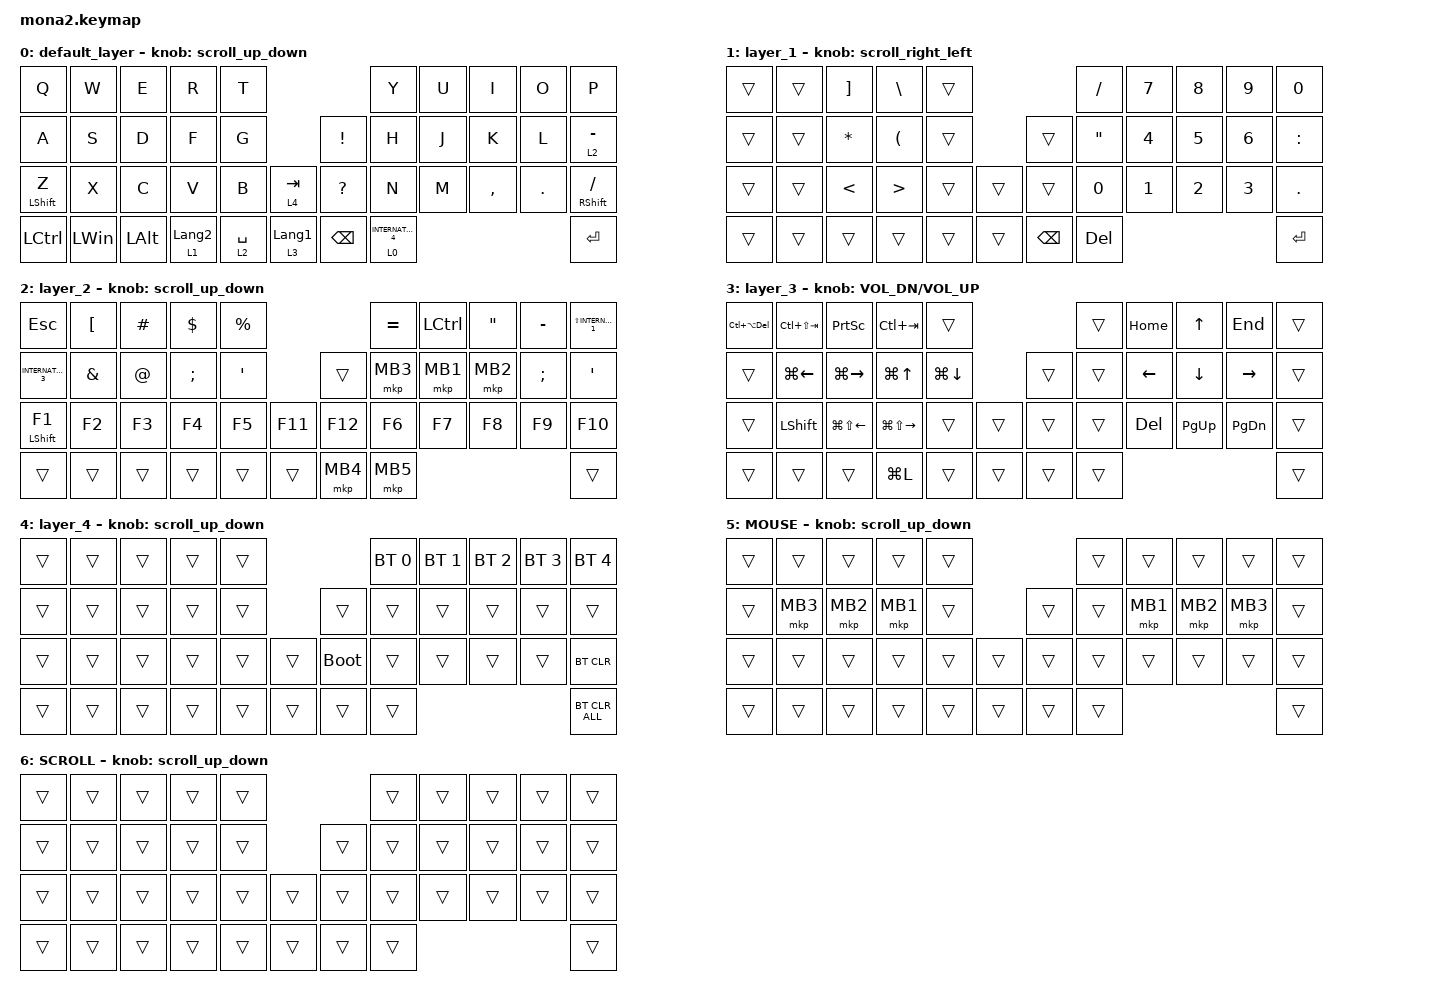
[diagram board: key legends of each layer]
#include <input/processors.dtsi>
#include <dt-bindings/zmk/input_transform.h>
#include <zephyr/dt-bindings/input/input-event-codes.h>
#include <behaviors.dtsi>
#include <dt-bindings/zmk/bt.h>
#include <dt-bindings/zmk/keys.h>
#include <dt-bindings/zmk/pointing.h>

#define ZMK_POINTING_DEFAULT_SCRL_VAL 60
#define MOUSE 5
#define SCROLL 6

&mt {
    flavor = "balanced";
    quick-tap-ms = <0>;
};

&lt {
    quick-tap-ms = <300>;
    flavor = "balanced";
};

/ {
    combos {
        compatible = "zmk,combos";

        layer4_ESC {
            bindings = <&lt 4 ESC>;
            key-positions = <39 38>;
        };

        tab {
            bindings = <&kp TAB>;
            key-positions = <11 12>;
        };
    };

    macros {
        to_layer_0: to_layer_0 {
            compatible = "zmk,behavior-macro-one-param";
            #binding-cells = <1>;
            bindings = <&to 0 &macro_param_1to1 &kp MACRO_PLACEHOLDER>;
            label = "TO_LAYER_0";
        };
    };

    behaviors {
        lt_to_layer_0: lt_to_layer_0 {
            compatible = "zmk,behavior-hold-tap";
            label = "LAYER_TAP_TO_0";
            bindings = <&mo>, <&to_layer_0>;

            #binding-cells = <2>;
            tapping-term-ms = <200>;
        };

        scroll_up_down: mouse_wheel_up_down {
            compatible = "zmk,behavior-sensor-rotate";
            #sensor-binding-cells = <0>;
            bindings = <&msc SCRL_DOWN>, <&msc SCRL_UP>;

            tap-ms = <50>;
        };

        scroll_right_left: mouse_wheel_right_left {
            compatible = "zmk,behavior-sensor-rotate";
            #sensor-binding-cells = <0>;
            bindings = <&msc SCRL_LEFT>, <&msc SCRL_RIGHT>;

            tap-ms = <20>;
        };
    };

    keymap {
        compatible = "zmk,keymap";

        default_layer {
            bindings = <
&kp Q             &kp W         &kp E         &kp R             &kp T                                                        &kp Y                  &kp U  &kp I      &kp O    &kp P
&kp A             &kp S         &kp D         &kp F             &kp G                                       &kp EXCLAMATION  &kp H                  &kp J  &kp K      &kp L    &lt 2 MINUS
&mt LEFT_SHIFT Z  &kp X         &kp C         &kp V             &kp B        &lt 4 TAB                      &kp QUESTION     &kp N                  &kp M  &kp COMMA  &kp DOT  &mt RSHIFT SLASH
&kp LCTRL         &kp LEFT_WIN  &kp LEFT_ALT  &lt 1 LANGUAGE_2  &lt 2 SPACE  &lt_to_layer_0 3 LANGUAGE_1    &kp BACKSPACE    &lt 0 INTERNATIONAL_4                             &kp ENTER
            >;

            sensor-bindings = <&scroll_up_down>;
        };

        layer_1 {
            bindings = <
&trans  &trans  &kp RIGHT_BRACKET  &kp BACKSLASH         &trans                           &kp SLASH          &kp NUMBER_7  &kp NUMBER_8  &kp NUMBER_9  &kp NUMBER_0
&trans  &trans  &kp ASTERISK       &kp LEFT_PARENTHESIS  &trans            &trans         &kp DOUBLE_QUOTES  &kp NUMBER_4  &kp N5        &kp NUMBER_6  &kp COLON
&trans  &trans  &kp LESS_THAN      &kp GREATER_THAN      &trans  &trans    &trans         &kp N0             &kp NUMBER_1  &kp NUMBER_2  &kp NUMBER_3  &kp PERIOD
&trans  &trans  &trans             &trans                &trans  &trans    &kp BACKSPACE  &kp DEL                                                      &kp ENTER
            >;

            sensor-bindings = <&scroll_right_left>;
        };

        layer_2 {
            bindings = <
&kp ESCAPE           &kp LEFT_BRACKET  &kp POUND    &kp DOLLAR     &kp PERCENT                       &kp EQUAL  &kp LCTRL  &kp DOUBLE_QUOTES  &kp MINUS      &kp LS(INTERNATIONAL_1)
&kp INTERNATIONAL_3  &kp AMPERSAND     &kp AT_SIGN  &kp SEMICOLON  &kp SQT                 &trans    &mkp MB3   &mkp MB1   &mkp MB2           &kp SEMICOLON  &kp SQT
&mt LEFT_SHIFT F1    &kp F2            &kp F3       &kp F4         &kp F5       &kp F11    &kp F12   &kp F6     &kp F7     &kp F8             &kp F9         &kp F10
&trans               &trans            &trans       &trans         &trans       &trans     &mkp MB4  &mkp MB5                                                &trans
            >;

            sensor-bindings = <&scroll_up_down>;
        };

        layer_3 {
            bindings = <
&kp LC(LA(DELETE))  &kp LC(LS(TAB))     &kp PRINTSCREEN         &kp LC(TAB)              &trans                                &trans  &kp HOME        &kp UP_ARROW    &kp END          &trans
&trans              &kp LG(LEFT_ARROW)  &kp LG(RIGHT_ARROW)     &kp LG(UP_ARROW)         &kp LG(DOWN_ARROW)            &trans  &trans  &kp LEFT_ARROW  &kp DOWN_ARROW  &kp RIGHT_ARROW  &trans
&trans              &kp LEFT_SHIFT      &kp LG(LS(LEFT_ARROW))  &kp LG(LS(RIGHT_ARROW))  &trans              &trans    &trans  &trans  &kp DELETE      &kp PAGE_UP     &kp PAGE_DOWN    &trans
&trans              &trans              &trans                  &kp LG(L)                &trans              &trans    &trans  &trans                                                   &trans
            >;

            sensor-bindings = <&inc_dec_kp C_VOL_DN C_VOL_UP>;
        };

        layer_4 {
            bindings = <
&trans  &trans  &trans  &trans  &trans                         &bt BT_SEL 0  &bt BT_SEL 1  &bt BT_SEL 2  &bt BT_SEL 3  &bt BT_SEL 4
&trans  &trans  &trans  &trans  &trans            &trans       &trans        &trans        &trans        &trans        &trans
&trans  &trans  &trans  &trans  &trans  &trans    &bootloader  &trans        &trans        &trans        &trans        &bt BT_CLR
&trans  &trans  &trans  &trans  &trans  &trans    &trans       &trans                                                  &bt BT_CLR_ALL
            >;

            sensor-bindings = <&scroll_up_down>;
        };

        MOUSE {
            bindings = <
&trans  &trans    &trans    &trans    &trans                    &trans  &trans    &trans    &trans    &trans
&trans  &mkp MB3  &mkp MB2  &mkp MB1  &trans            &trans  &trans  &mkp MB1  &mkp MB2  &mkp MB3  &trans
&trans  &trans    &trans    &trans    &trans  &trans    &trans  &trans  &trans    &trans    &trans    &trans
&trans  &trans    &trans    &trans    &trans  &trans    &trans  &trans                                &trans
            >;

            sensor-bindings = <&scroll_up_down>;
        };

        SCROLL {
            bindings = <
&trans  &trans  &trans  &trans  &trans                    &trans  &trans  &trans  &trans  &trans
&trans  &trans  &trans  &trans  &trans            &trans  &trans  &trans  &trans  &trans  &trans
&trans  &trans  &trans  &trans  &trans  &trans    &trans  &trans  &trans  &trans  &trans  &trans
&trans  &trans  &trans  &trans  &trans  &trans    &trans  &trans                          &trans
            >;

            sensor-bindings = <&scroll_up_down>;
        };
    };
};
